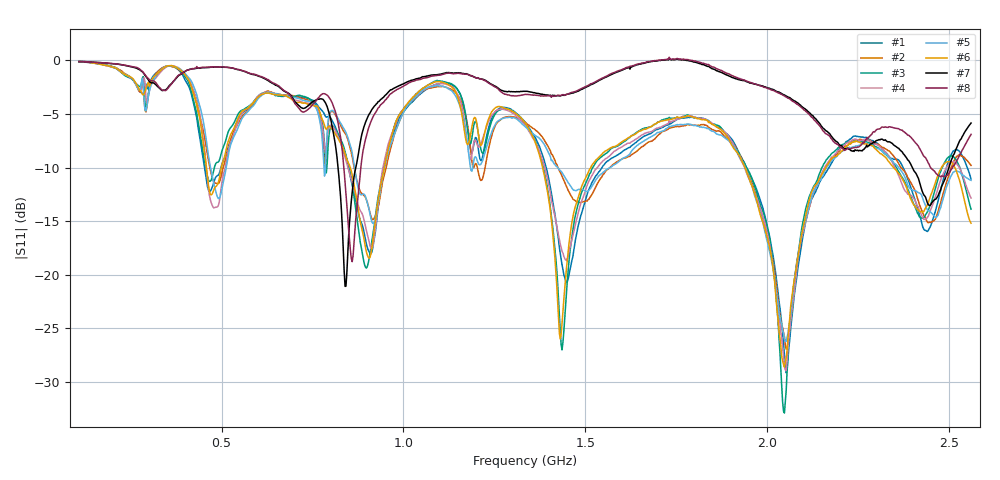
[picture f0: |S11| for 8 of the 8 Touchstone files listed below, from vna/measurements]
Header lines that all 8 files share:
# MHz S MA R 50
!  freq  S11
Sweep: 108 MHz to 2.56 GHz
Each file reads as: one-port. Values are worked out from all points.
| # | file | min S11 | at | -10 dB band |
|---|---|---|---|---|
| 1 | BKSP-000001-45deg.s1p | -29.1 dB | 2.052 GHz | 227.2 MHz wide |
| 2 | BKSP-000001-90deg.s1p | -26.9 dB | 2.052 GHz | 218.4 MHz wide |
| 3 | BKSP-000001-straight.s1p | -32.9 dB | 2.047 GHz | 207.2 MHz wide |
| 4 | BKSP-000002-45deg.s1p | -28.9 dB | 2.052 GHz | 220.2 MHz wide |
| 5 | BKSP-000002-90deg.s1p | -26.2 dB | 2.049 GHz | 223.7 MHz wide |
| 6 | BKSP-000002-straight.s1p | -28.6 dB | 2.047 GHz | 221.8 MHz wide |
| 7 | BKSP-000003.s1p | -21.1 dB | 839.4 MHz | 100.5 MHz wide |
| 8 | BKSP-000004.s1p | -18.8 dB | 859.1 MHz | 60.45 MHz wide |
